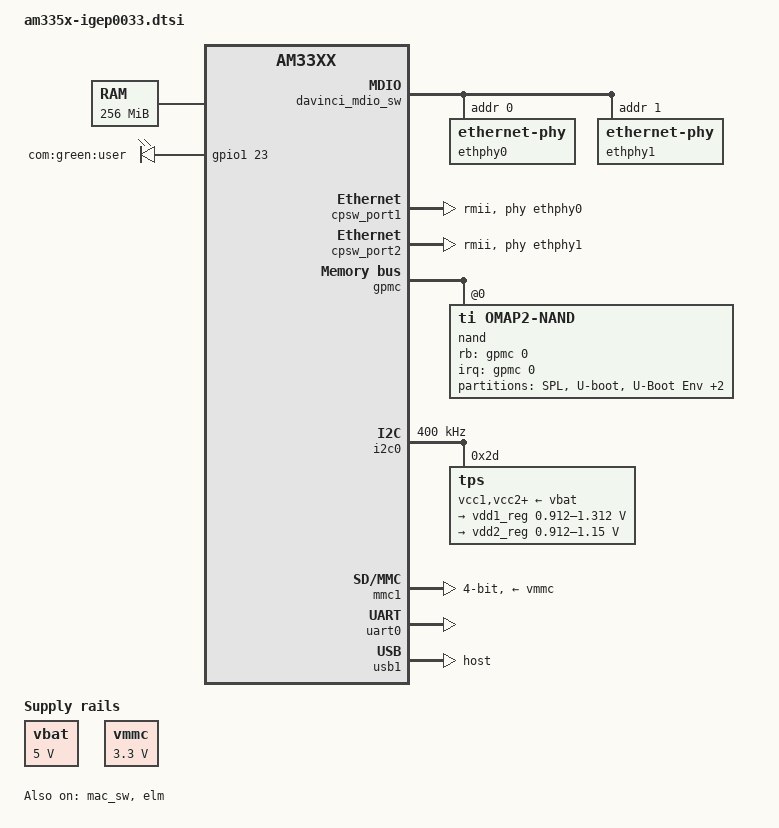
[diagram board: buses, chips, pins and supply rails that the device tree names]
// SPDX-License-Identifier: GPL-2.0-only
/*
 * am335x-igep0033.dtsi - Device Tree file for IGEP COM AQUILA AM335x
 *
 * Copyright (C) 2013 ISEE 2007 SL - https://www.isee.biz
 */

/dts-v1/;

#include "am33xx.dtsi"
#include <dt-bindings/interrupt-controller/irq.h>

/ {
	cpus {
		cpu@0 {
			cpu0-supply = <&vdd1_reg>;
		};
	};

	memory@80000000 {
		device_type = "memory";
		reg = <0x80000000 0x10000000>; /* 256 MB */
	};

	leds {
		pinctrl-names = "default";
		pinctrl-0 = <&leds_pins>;

		compatible = "gpio-leds";

		led0 {
			label = "com:green:user";
			gpios = <&gpio1 23 GPIO_ACTIVE_HIGH>;
			default-state = "on";
		};
	};

	vbat: fixedregulator0 {
		compatible = "regulator-fixed";
		regulator-name = "vbat";
		regulator-min-microvolt = <5000000>;
		regulator-max-microvolt = <5000000>;
		regulator-boot-on;
	};

	vmmc: fixedregulator1 {
		compatible = "regulator-fixed";
		regulator-name = "vmmc";
		regulator-min-microvolt = <3300000>;
		regulator-max-microvolt = <3300000>;
	};
};

&am33xx_pinmux {
	i2c0_pins: i2c0-pins {
		pinctrl-single,pins = <
			AM33XX_PADCONF(AM335X_PIN_I2C0_SDA, PIN_INPUT_PULLUP, MUX_MODE0)
			AM33XX_PADCONF(AM335X_PIN_I2C0_SCL, PIN_INPUT_PULLUP, MUX_MODE0)
		>;
	};

	nandflash_pins: nandflash-pins {
		pinctrl-single,pins = <
			AM33XX_PADCONF(AM335X_PIN_GPMC_AD0, PIN_INPUT_PULLUP, MUX_MODE0)
			AM33XX_PADCONF(AM335X_PIN_GPMC_AD1, PIN_INPUT_PULLUP, MUX_MODE0)
			AM33XX_PADCONF(AM335X_PIN_GPMC_AD2, PIN_INPUT_PULLUP, MUX_MODE0)
			AM33XX_PADCONF(AM335X_PIN_GPMC_AD3, PIN_INPUT_PULLUP, MUX_MODE0)
			AM33XX_PADCONF(AM335X_PIN_GPMC_AD4, PIN_INPUT_PULLUP, MUX_MODE0)
			AM33XX_PADCONF(AM335X_PIN_GPMC_AD5, PIN_INPUT_PULLUP, MUX_MODE0)
			AM33XX_PADCONF(AM335X_PIN_GPMC_AD6, PIN_INPUT_PULLUP, MUX_MODE0)
			AM33XX_PADCONF(AM335X_PIN_GPMC_AD7, PIN_INPUT_PULLUP, MUX_MODE0)
			AM33XX_PADCONF(AM335X_PIN_GPMC_WAIT0, PIN_INPUT_PULLUP, MUX_MODE0)
			AM33XX_PADCONF(AM335X_PIN_GPMC_WPN, PIN_INPUT_PULLUP, MUX_MODE7)	/* gpmc_wpn.gpio0_31 */
			AM33XX_PADCONF(AM335X_PIN_GPMC_CSN0, PIN_OUTPUT, MUX_MODE0)
			AM33XX_PADCONF(AM335X_PIN_GPMC_ADVN_ALE, PIN_OUTPUT, MUX_MODE0)
			AM33XX_PADCONF(AM335X_PIN_GPMC_OEN_REN, PIN_OUTPUT, MUX_MODE0)
			AM33XX_PADCONF(AM335X_PIN_GPMC_WEN, PIN_OUTPUT, MUX_MODE0)
			AM33XX_PADCONF(AM335X_PIN_GPMC_BEN0_CLE, PIN_OUTPUT, MUX_MODE0)
		>;
	};

	uart0_pins: uart0-pins {
		pinctrl-single,pins = <
			AM33XX_PADCONF(AM335X_PIN_UART0_RXD, PIN_INPUT_PULLUP, MUX_MODE0)
			AM33XX_PADCONF(AM335X_PIN_UART0_TXD, PIN_OUTPUT_PULLDOWN, MUX_MODE0)
		>;
	};

	leds_pins: leds-pins {
		pinctrl-single,pins = <
			AM33XX_PADCONF(AM335X_PIN_GPMC_A7, PIN_OUTPUT_PULLDOWN, MUX_MODE7)	/* gpmc_a7.gpio1_23 */
		>;
	};
};

&mac_sw {
	status = "okay";
};

&davinci_mdio_sw {

	ethphy0: ethernet-phy@0 {
		reg = <0>;
	};

	ethphy1: ethernet-phy@1 {
		reg = <1>;
	};
};

&cpsw_port1 {
	phy-handle = <&ethphy0>;
	phy-mode = "rmii";
	ti,dual-emac-pvid = <1>;
};

&cpsw_port2 {
	phy-handle = <&ethphy1>;
	phy-mode = "rmii";
	ti,dual-emac-pvid = <2>;
};

&elm {
	status = "okay";
};

&gpmc {
	status = "okay";
	pinctrl-names = "default";
	pinctrl-0 = <&nandflash_pins>;

	ranges = <0 0 0x08000000 0x1000000>;	/* CS0: 16MB for NAND */

	nand@0,0 {
		compatible = "ti,omap2-nand";
		reg = <0 0 4>; /* CS0, offset 0, IO size 4 */
		interrupt-parent = <&gpmc>;
		interrupts = <0 IRQ_TYPE_NONE>, /* fifoevent */
			     <1 IRQ_TYPE_NONE>;	/* termcount */
		rb-gpios = <&gpmc 0 GPIO_ACTIVE_HIGH>; /* gpmc_wait0 */
		nand-bus-width = <8>;
		ti,nand-ecc-opt = "bch8";
		gpmc,device-width = <1>;
		gpmc,sync-clk-ps = <0>;
		gpmc,cs-on-ns = <0>;
		gpmc,cs-rd-off-ns = <44>;
		gpmc,cs-wr-off-ns = <44>;
		gpmc,adv-on-ns = <6>;
		gpmc,adv-rd-off-ns = <34>;
		gpmc,adv-wr-off-ns = <44>;
		gpmc,we-on-ns = <0>;
		gpmc,we-off-ns = <40>;
		gpmc,oe-on-ns = <0>;
		gpmc,oe-off-ns = <54>;
		gpmc,access-ns = <64>;
		gpmc,rd-cycle-ns = <82>;
		gpmc,wr-cycle-ns = <82>;
		gpmc,bus-turnaround-ns = <0>;
		gpmc,cycle2cycle-delay-ns = <0>;
		gpmc,clk-activation-ns = <0>;
		gpmc,wr-access-ns = <40>;
		gpmc,wr-data-mux-bus-ns = <0>;

		#address-cells = <1>;
		#size-cells = <1>;
		ti,elm-id = <&elm>;

		/* MTD partition table */
		partition@0 {
			label = "SPL";
			reg = <0x00000000 0x00080000>;
		};

		partition@1 {
			label = "U-boot";
			reg = <0x00080000 0x001e0000>;
		};

		partition@2 {
			label = "U-Boot Env";
			reg = <0x00260000 0x00020000>;
		};

		partition@3 {
			label = "Kernel";
			reg = <0x00280000 0x00500000>;
		};

		partition@4 {
			label = "File System";
			reg = <0x00780000 0x07880000>;
		};
	};
};

&i2c0 {
	status = "okay";
	pinctrl-names = "default";
	pinctrl-0 = <&i2c0_pins>;

	clock-frequency = <400000>;

	tps: tps@2d {
		reg = <0x2d>;
	};
};

&mmc1 {
	status = "okay";
	vmmc-supply = <&vmmc>;
	bus-width = <4>;
};

&uart0 {
	status = "okay";
	pinctrl-names = "default";
	pinctrl-0 = <&uart0_pins>;
};

&usb1 {
	dr_mode = "host";
};

#include "../../tps65910.dtsi"

&tps {
	vcc1-supply = <&vbat>;
	vcc2-supply = <&vbat>;
	vcc3-supply = <&vbat>;
	vcc4-supply = <&vbat>;
	vcc5-supply = <&vbat>;
	vcc6-supply = <&vbat>;
	vcc7-supply = <&vbat>;
	vccio-supply = <&vbat>;

	regulators {
		vrtc_reg: regulator@0 {
			regulator-always-on;
		};

		vio_reg: regulator@1 {
			regulator-always-on;
		};

		vdd1_reg: regulator@2 {
			/* VDD_MPU voltage limits 0.95V - 1.26V with +/-4% tolerance */
			regulator-name = "vdd_mpu";
			regulator-min-microvolt = <912500>;
			regulator-max-microvolt = <1312500>;
			regulator-boot-on;
			regulator-always-on;
		};

		vdd2_reg: regulator@3 {
			/* VDD_CORE voltage limits 0.95V - 1.1V with +/-4% tolerance */
			regulator-name = "vdd_core";
			regulator-min-microvolt = <912500>;
			regulator-max-microvolt = <1150000>;
			regulator-boot-on;
			regulator-always-on;
		};

		vdd3_reg: regulator@4 {
			regulator-always-on;
		};

		vdig1_reg: regulator@5 {
			regulator-always-on;
		};

		vdig2_reg: regulator@6 {
			regulator-always-on;
		};

		vpll_reg: regulator@7 {
			regulator-always-on;
		};

		vdac_reg: regulator@8 {
			regulator-always-on;
		};

		vaux1_reg: regulator@9 {
			regulator-always-on;
		};

		vaux2_reg: regulator@10 {
			regulator-always-on;
		};

		vaux33_reg: regulator@11 {
			regulator-always-on;
		};

		vmmc_reg: regulator@12 {
			regulator-always-on;
		};
	};
};

